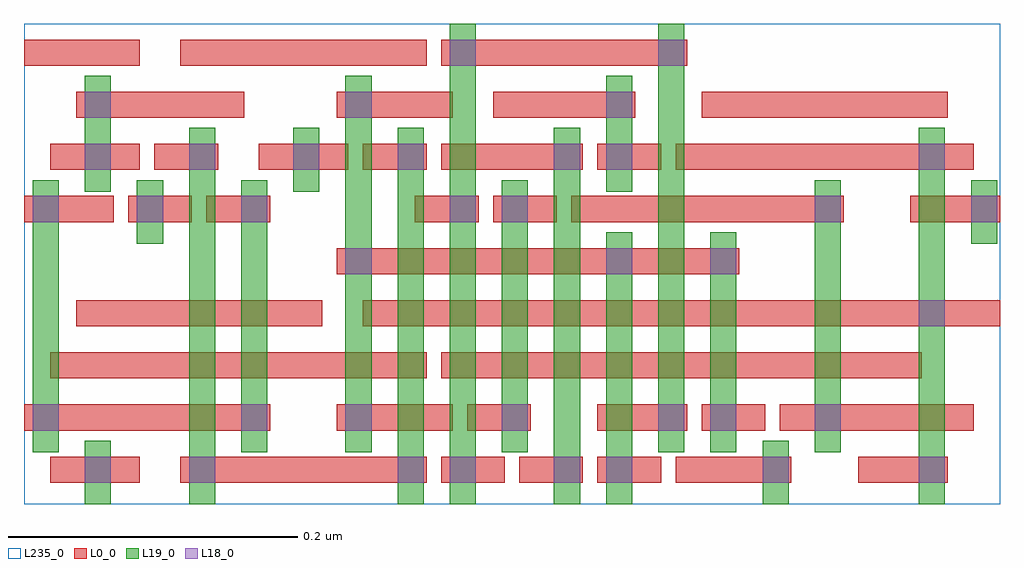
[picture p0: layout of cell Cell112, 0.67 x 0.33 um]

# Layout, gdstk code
import gdstk
lib = gdstk.Library(unit=1e-6, precision=2.5e-10)
def R(c, l, rs):  # rectangles x0, y0, x1, y1
    for r in rs: c.add(gdstk.rectangle(r[:2], r[2:], *l))
def A(c, l, x, y, w, h, nx, ny, dx, dy):  # array of equal rectangles
    R(c, l, [(x+i*dx, y+j*dy, x+i*dx+w, y+j*dy+h) for i in range(nx) for j in range(ny)])
L0_0 = (0, 0)
L18_0 = (18, 0)
L19_0 = (19, 0)
L235_0 = (235, 0)

cell112 = lib.new_cell('Cell112')
A(cell112, L0_0, 0.292, -0.001, 0.044, 0.018, 3, 1, 0.054, 0)
R(cell112, L0_0, [(0.022,-0.001,0.084,0.017), (0.112,-0.001,0.282,0.017), (0.454,-0.001,0.534,0.017), (0.58,-0.001,0.642,0.017), (0.004,0.035,0.174,0.053), (0.22,0.035,0.3,0.053), (0.31,0.035,0.354,0.053), (0.4,0.035,0.462,0.053), (0.472,0.035,0.516,0.053), (0.526,0.035,0.66,0.053), (0.022,0.071,0.282,0.089), (0.292,0.071,0.624,0.089), (0.04,0.107,0.21,0.125), (0.238,0.107,0.678,0.125), (0.22,0.143,0.498,0.161), (0.004,0.179,0.066,0.197), (0.076,0.179,0.12,0.197), (0.13,0.179,0.174,0.197), (0.274,0.179,0.318,0.197), (0.328,0.179,0.372,0.197), (0.382,0.179,0.57,0.197), (0.616,0.179,0.678,0.197), (0.022,0.215,0.084,0.233), (0.094,0.215,0.138,0.233), (0.166,0.215,0.228,0.233), (0.238,0.215,0.282,0.233), (0.292,0.215,0.39,0.233), (0.4,0.215,0.444,0.233), (0.454,0.215,0.66,0.233), (0.04,0.251,0.156,0.269), (0.22,0.251,0.3,0.269), (0.328,0.251,0.426,0.269), (0.472,0.251,0.642,0.269), (0.004,0.287,0.084,0.305), (0.112,0.287,0.282,0.305), (0.292,0.287,0.462,0.305)])
A(cell112, L18_0, 0.406, -0.001, 0.018, 0.018, 3, 1, 0.108, 0)
A(cell112, L18_0, 0.226, 0.035, 0.018, 0.018, 3, 1, 0.108, 0)
A(cell112, L18_0, 0.01, 0.179, 0.018, 0.018, 3, 1, 0.072, 0)
A(cell112, L18_0, 0.046, 0.215, 0.018, 0.018, 4, 1, 0.072, 0)
A(cell112, L18_0, 0.046, 0.251, 0.018, 0.018, 3, 1, 0.18, 0)
R(cell112, L18_0, [(0.046,-0.001,0.064,0.017), (0.118,-0.001,0.136,0.017), (0.262,-0.001,0.28,0.017), (0.298,-0.001,0.316,0.017), (0.37,-0.001,0.388,0.017), (0.01,0.035,0.028,0.053), (0.154,0.035,0.172,0.053), (0.478,0.035,0.496,0.053), (0.55,0.035,0.568,0.053), (0.622,0.107,0.64,0.125), (0.226,0.143,0.244,0.161), (0.406,0.143,0.424,0.161), (0.478,0.143,0.496,0.161), (0.298,0.179,0.316,0.197), (0.334,0.179,0.352,0.197), (0.55,0.179,0.568,0.197), (0.658,0.179,0.676,0.197), (0.37,0.215,0.388,0.233), (0.406,0.215,0.424,0.233), (0.622,0.215,0.64,0.233), (0.298,0.287,0.316,0.305), (0.442,0.287,0.46,0.305)])
R(cell112, L19_0, [(0.046,-0.016,0.064,0.028), (0.118,-0.016,0.136,0.244), (0.262,-0.016,0.28,0.244), (0.298,-0.016,0.316,0.316), (0.37,-0.016,0.388,0.244), (0.406,-0.016,0.424,0.172), (0.514,-0.016,0.532,0.028), (0.622,-0.016,0.64,0.244), (0.01,0.02,0.028,0.208), (0.154,0.02,0.172,0.208), (0.226,0.02,0.244,0.28), (0.334,0.02,0.352,0.208), (0.442,0.02,0.46,0.316), (0.478,0.02,0.496,0.172), (0.55,0.02,0.568,0.208), (0.082,0.164,0.1,0.208), (0.658,0.164,0.676,0.208), (0.046,0.2,0.064,0.28), (0.19,0.2,0.208,0.244), (0.406,0.2,0.424,0.28)])
R(cell112, L235_0, [(0.004,-0.016,0.678,0.316)])

lib.write_gds('Cell112.gds')
